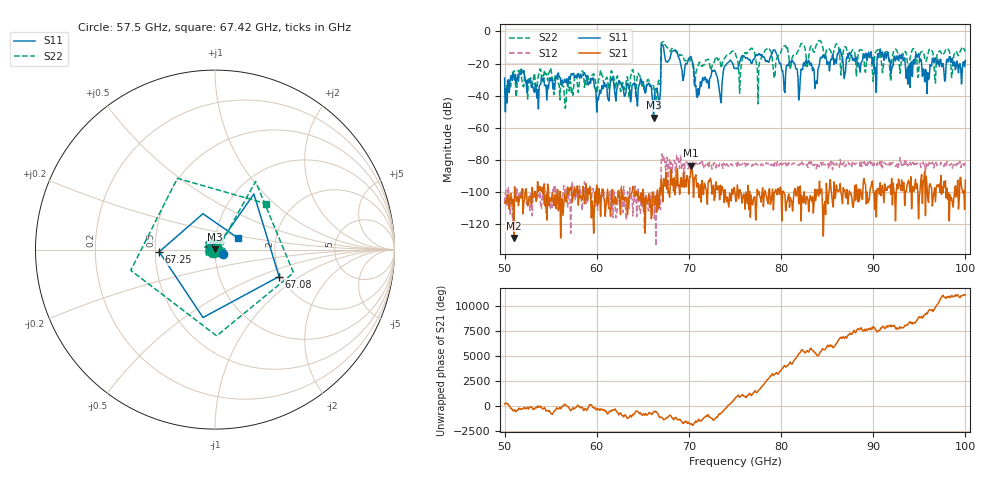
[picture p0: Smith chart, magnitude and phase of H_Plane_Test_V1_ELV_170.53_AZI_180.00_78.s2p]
! 11/27/2026 8:54:19 AM
! C:\ANRITSUVNA\TEMP\TEMP.S2P
! CHANNEL.1
! TR.MEASUREMENT
! RAW.DATA
# HZ S RI R 50.0
! FREQ.HZ  S11RE  S11IM  S21RE  S21IM  S12RE  S12IM  S22RE  S22IM
!; PortSelection: Port_12
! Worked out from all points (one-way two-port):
!   601 points, 50 GHz to 100 GHz, reference 50 ohm
!   highest |S21| = -83.82 dB at 70.25 GHz (marker M1); lowest = -128.9 dB at 51 GHz (marker M2)
!   lowest |S11| = -53.7 dB at 66.17 GHz (marker M3), VSWR 1.00, Z = 50.1 + j0.153 ohm
!   |S11| at or under -10 dB: start of sweep to 67 GHz; 67.24 GHz to end of sweep
!   |S22| runs from -47.9 to -5.6 dB; largest |S21 - S12| = 0.00016
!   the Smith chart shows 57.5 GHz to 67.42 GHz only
!   S11 on the Smith chart (normalised r, x): 57.5 GHz: 1.09, -0.05; 67.08 GHz: 1.95, -0.69; 67.25 GHz: 0.53, -0.01; 67.42 GHz: 1.29, +0.17
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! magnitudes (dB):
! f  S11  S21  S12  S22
! 50 GHz  -29.0  -107.1  -106.9  -35.7
! 51 GHz  -27.7  -128.9  -108.3  -25.0
! 53.42 GHz  -34.7  -106.0  -104.6  -35.2
! 57.5 GHz  -26.2  -100.0  -103.5  -34.5
! 58.42 GHz  -27.2  -104.9  -111.8  -24.7
! 60.17 GHz  -42.7  -106.0  -100.4  -30.3
! 66.17 GHz  -53.7  -102.5  -99.5  -34.0
! 66.67 GHz  -41.8  -106.6  -112.1  -31.6
! 67.08 GHz  -8.2  -97.2  -76.4  -6.8
! 67.25 GHz  -10.1  -91.9  -78.2  -6.3
! 67.42 GHz  -16.8  -96.5  -84.1  -8.4
! 70.25 GHz  -15.9  -83.8  -85.9  -18.8
! 70.92 GHz  -41.2  -95.0  -82.8  -23.1
! 75 GHz  -23.1  -101.0  -82.8  -13.0
! 79.25 GHz  -11.4  -100.6  -84.2  -29.0
! 80.25 GHz  -27.9  -99.5  -82.5  -9.3
! 83.42 GHz  -24.4  -103.1  -83.4  -10.9
! 91.67 GHz  -16.5  -96.8  -82.0  -15.3
! 93.75 GHz  -32.9  -94.3  -83.9  -21.5
! 94.83 GHz  -15.0  -99.3  -82.3  -28.7
! 95.83 GHz  -38.8  -96.5  -84.1  -16.6
! 100 GHz  -17.9  -92.7  -83.3  -12.6
